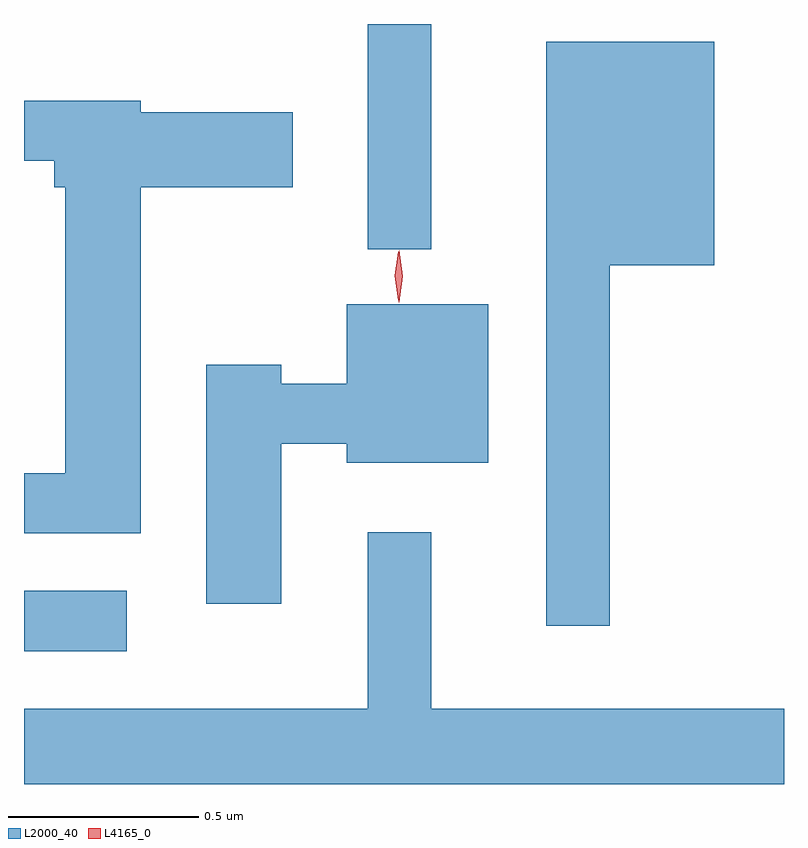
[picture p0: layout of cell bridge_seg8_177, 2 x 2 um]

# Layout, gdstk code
import gdstk
lib = gdstk.Library(unit=1e-6, precision=1e-09)
def R(c, l, rs):  # rectangles x0, y0, x1, y1
    for r in rs: c.add(gdstk.rectangle(r[:2], r[2:], *l))
def P(c, l, *ps):  # polygons
    for p in ps: c.add(gdstk.Polygon(p, *l))
L2000_40 = (2000, 40)
L4165_0 = (4165, 0)

bridge_seg8_177 = lib.new_cell('bridge_seg8_177')
R(bridge_seg8_177, L2000_40, [(1318.897,1930.076,1319.168,1930.234), (1319.801,1931.133,1319.969,1931.726)])
P(bridge_seg8_177, L2000_40, [(1320.439,1931.091),(1320.714,1931.091),(1320.714,1931.679),(1320.271,1931.679),(1320.271,1930.143),(1320.439,1930.143)],
  [(1319.204,1931.296),(1319.604,1931.296),(1319.604,1931.494),(1319.204,1931.494),(1319.204,1931.524),(1318.897,1931.524),(1318.897,1931.366),(1318.976,1931.366),(1318.976,1931.296),(1319.006,1931.296),(1319.006,1930.544),(1318.897,1930.544),(1318.897,1930.386),(1319.204,1930.386)],
  [(1319.574,1930.621),(1319.746,1930.621),(1319.746,1930.571),(1320.119,1930.571),(1320.119,1930.989),(1319.746,1930.989),(1319.746,1930.779),(1319.574,1930.779),(1319.574,1930.829),(1319.376,1930.829),(1319.376,1930.201),(1319.574,1930.201)],
  [(1320.897,1929.924),(1319.969,1929.924),(1319.969,1930.388),(1319.801,1930.388),(1319.801,1929.924),(1318.897,1929.924),(1318.897,1929.726),(1320.897,1929.726)])
P(bridge_seg8_177, L4165_0, [(1319.883,1930.998),(1319.882,1930.999),(1319.873,1931.063),(1319.882,1931.127),(1319.883,1931.127),(1319.883,1931.127),(1319.893,1931.063),(1319.883,1930.999)],
  [(1319.883,1930.994),(1319.874,1931.062),(1319.884,1931.13),(1319.885,1931.13),(1319.885,1931.13),(1319.894,1931.062),(1319.884,1930.994),(1319.884,1930.994)])

lib.write_gds('bridge_seg8_177.gds')
